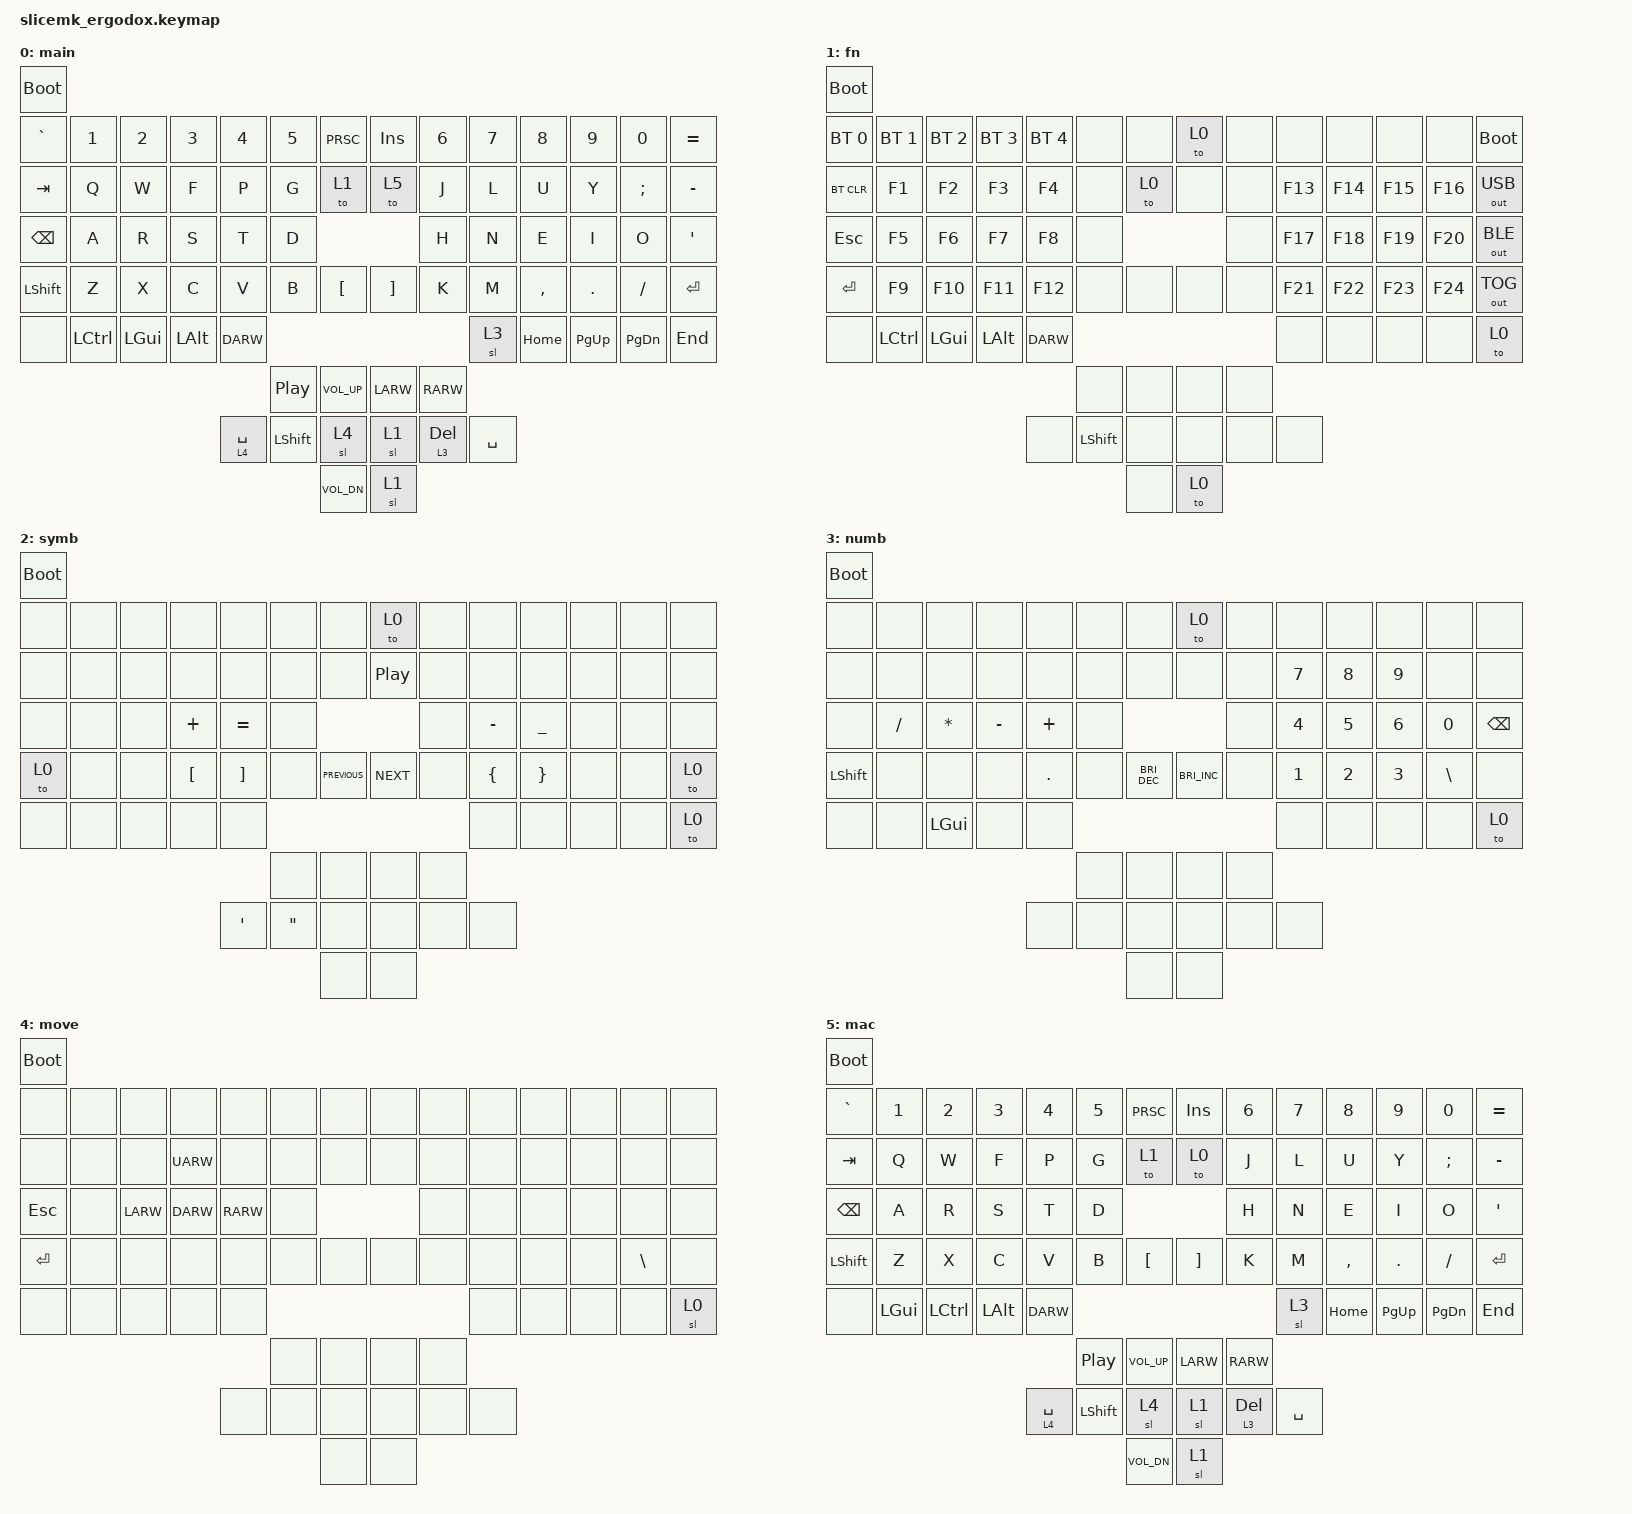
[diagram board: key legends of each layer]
#include <behaviors.dtsi>
#include <dt-bindings/zmk/bt.h>
#include <dt-bindings/zmk/keys.h>
#include <dt-bindings/zmk/outputs.h>

/ {
	keymap {
		compatible = "zmk,keymap";

		main {
			bindings = <
				&bootloader
				&kp GRAV   &kp NUMBER_1 &kp NUMBER_2 &kp NUMBER_3 &kp NUMBER_4 &kp NUMBER_5 &kp PRSC  &kp INS   &kp NUMBER_6 &kp NUMBER_7 &kp NUMBER_8 &kp NUMBER_9 &kp NUMBER_0  &kp EQUAL
				&kp TAB    &kp Q        &kp W        &kp F        &kp P        &kp G        &to 1     &to 5     &kp J        &kp L        &kp U        &kp Y        &kp SEMICOLON &kp MINUS
				&kp BSPC &kp A        &kp R        &kp S        &kp T        &kp D                            &kp H        &kp N        &kp E        &kp I        &kp O         &kp SQT
				&kp LSHIFT &kp Z        &kp X        &kp C        &kp V        &kp B        &kp LBKT  &kp RBKT  &kp K        &kp M        &kp CMMA     &kp DOT      &kp FSLH      &kp ENTER
				&none      &kp LCTRL    &kp LGUI     &kp LALT     &kp DARW                                                   &sl 3     &kp HOME     &kp PG_UP    &kp PG_DN     &kp END
				                                                               &kp C_PP     &kp K_VOL_UP  &kp LARW   &kp RARW
				                                                  &lt 4 SPC        &kp LSHIFT   &sl 4 &sl 1 &lt 3 DEL    &kp SPC
				                                                                            &kp K_VOL_DN  &sl 1
			>;
		};
		fn {
			bindings = <
				&bootloader
				&bt BT_SEL 0 &bt BT_SEL 1 &bt BT_SEL 2 &bt BT_SEL 3 &bt BT_SEL 4 &none &none &to 0 &none &none   &none   &none   &none   &bootloader
				&bt BT_CLR   &kp F1       &kp F2       &kp F3       &kp F4       &none &to 0 &none &none &kp F13 &kp F14 &kp F15 &kp F16 &out OUT_USB
				&kp ESC        &kp F5       &kp F6       &kp F7       &kp F8       &none             &none &kp F17 &kp F18 &kp F19 &kp F20 &out OUT_BLE
				&kp ENTER        &kp F9       &kp F10      &kp F11      &kp F12      &none &none &none &none &kp F21 &kp F22 &kp F23 &kp F24 &out OUT_TOG
&none           &kp LCTRL    &kp LGUI     &kp LALT     &kp DARW                                &none   &none   &none   &none   &to 0
				                                                                 &none &none &none &none
				                                                    &none        &kp LSHIFT &none &none &none &none
				                                                                       &none &to 0
			>;
		};
		symb {
			bindings = <
				&bootloader
				&none &none &none &none    &none            &none             &none          &to 0            &none &none          &none           &none &none &none
				&none &none &none &none    &none            &none             &none          &kp C_PLAY_PAUSE &none &none          &none           &none &none &none
				&none &none &none &kp PLUS &kp EQUAL        &none                                             &none &kp MINUS      &kp UNDERSCORE  &none &none &none
				&to 0 &none &none &kp LBKT &kp RBKT         &none             &kp C_PREVIOUS &kp C_NEXT       &none &kp LEFT_BRACE &kp RIGHT_BRACE &none &none &to 0
				&none &none &none &none    &none                                                                    &none          &none           &none &none &to 0
				                                            &none             &none          &none            &none
				                           &kp SINGLE_QUOTE &kp DOUBLE_QUOTES &none          &none            &none &none
				                                                              &none          &none
			>;
		};
		numb {
			bindings = <
				&bootloader
				&none &none     &none        &none     &none    &none &none                &to 0                &none &none        &none        &none        &none        &none
				&none &none     &none        &none     &none    &none &none                &none                &none &kp NUMBER_7 &kp NUMBER_8 &kp NUMBER_9 &none        &none
				&none &kp SLASH &kp ASTERISK &kp MINUS &kp PLUS &none                                           &none &kp NUMBER_4 &kp NUMBER_5 &kp NUMBER_6 &kp NUMBER_0 &kp BACKSPACE
				&kp LSHIFT &none     &none        &none     &kp DOT  &none &kp C_BRIGHTNESS_DEC &kp C_BRIGHTNESS_INC &none &kp NUMBER_1 &kp NUMBER_2 &kp NUMBER_3 &kp BSLH        &none
				&none &none     &kp LGUI        &none     &none                                                          &none        &none        &none        &none        &to 0
				                                                &none &none                &none                &none
				                                       &none    &none &none                &none                &none &none
				                                                      &none                &none
			>;
		};
		move {
			bindings = <
				&bootloader
				&none &none &none    &none    &none    &none &none &none &none &none &none &none &none &none
				&none &none &none    &kp UARW &none    &none &none &none &none &none &none &none &none &none
				&kp ESC &none &kp LARW &kp DARW &kp RARW &none             &none &none &none &none &none &none
				&kp ENTER &none &none    &none    &none    &none &none &none &none &none &none &none &kp BSLH &none
				&none &none &none    &none    &none                            &none &none &none &none &sl 0
				                                       &none &none &none &none
				                              &none    &none &none &none &none &none
				                                             &none &none
			>;
		};
        mac {
            bindings = <
                &bootloader
                &kp GRAV   &kp NUMBER_1 &kp NUMBER_2 &kp NUMBER_3 &kp NUMBER_4 &kp NUMBER_5 &kp PRSC  &kp INS   &kp NUMBER_6 &kp NUMBER_7 &kp NUMBER_8 &kp NUMBER_9 &kp NUMBER_0  &kp EQUAL
                &kp TAB    &kp Q        &kp W        &kp F        &kp P        &kp G        &to 1     &to 0     &kp J        &kp L        &kp U        &kp Y        &kp SEMICOLON &kp MINUS
                &kp BSPC &kp A        &kp R        &kp S        &kp T        &kp D                            &kp H        &kp N        &kp E        &kp I        &kp O         &kp SQT
                &kp LSHIFT &kp Z        &kp X        &kp C        &kp V        &kp B        &kp LBKT  &kp RBKT  &kp K        &kp M        &kp CMMA     &kp DOT      &kp FSLH      &kp ENTER
                &none      &kp LGUI    &kp LCTRL     &kp LALT     &kp DARW                                                   &sl 3     &kp HOME     &kp PG_UP    &kp PG_DN     &kp END
                                                                            &kp C_PP     &kp K_VOL_UP  &kp LARW   &kp RARW
                                                                &lt 4 SPC        &kp LSHIFT   &sl 4 &sl 1 &lt 3 DEL    &kp SPC
                                                                                        &kp K_VOL_DN  &sl 1
        >;
        };
	};
};
